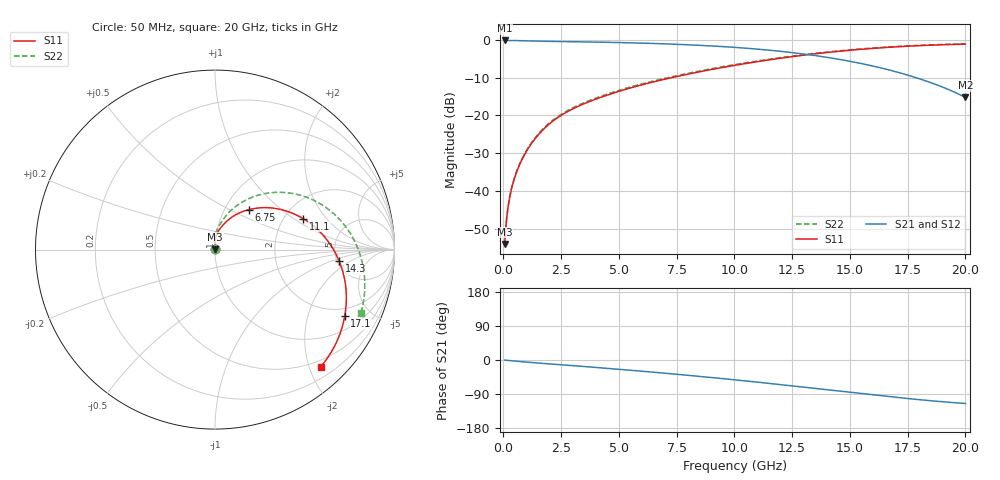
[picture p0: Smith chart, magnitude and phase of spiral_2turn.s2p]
#  Hz  S  RI  R  50
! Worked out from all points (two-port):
!   400 points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, 50 MHz to 20 GHz, reference 50 ohm
!   highest |S21| = -0.15 dB at 50 MHz (marker M1); lowest = -15.2 dB at 20 GHz (marker M2)
!   |S21| within 3 dB of the highest: start of sweep to 12.19 GHz
!   lowest |S11| = -54.0 dB at 50 MHz (marker M3), VSWR 1.00, Z = 50.1 + j0.15 ohm
!   |S11| at or under -10 dB: start of sweep to 7.281 GHz
!   |S22| runs from -54.6 to -1.0 dB; largest |S21 - S12| = 0.00073
!   S11 on the Smith chart (normalised r, x): 50 MHz: 1.00, +0.00; 6.75 GHz: 1.29, +0.63; 11.1 GHz: 2.53, +1.20; 14.3 GHz: 5.22, -1.31; 17.1 GHz: 1.59, -3.46; 20 GHz: 0.38, -2.20
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5e7  0.00132 0.00149  0.983 -0.00507  0.9828 -0.00505  0.00106 0.00153
1e8  0.00129 0.00299  0.9828 -0.0101  0.9826 -0.0101  0.00102 0.00306
1.5e8  0.00124 0.0045  0.9826 -0.0152  0.9824 -0.0151  0.000954 0.00459
2e8  0.00117 0.00601  0.9823 -0.0202  0.9821 -0.0202  0.000861 0.00614
3e8  0.000978 0.00908  0.9813 -0.0302  0.9812 -0.0301  0.000604 0.00928
5.5e8  0.000291 0.0172  0.9776 -0.0546  0.9775 -0.0544  -0.000369 0.0175
9e8  -0.000655 0.0298  0.9697 -0.0864  0.9698 -0.0863  -0.00199 0.0305
1.4e9  -7.05e-05 0.0505  0.9561 -0.1269  0.9563 -0.1268  -0.00291 0.0519
1.95e9  0.00546 0.0752  0.9416 -0.1667  0.9417 -0.1668  0.000354 0.0778
2.6e9  0.0186 0.1031  0.9259 -0.2126  0.9258 -0.2127  0.0103 0.1078
3.4e9  0.0408 0.133  0.9036 -0.271  0.9035 -0.271  0.0277 0.141
4.9e9  0.0942 0.1809  0.8437 -0.3767  0.8437 -0.3768  0.0696 0.1985
6.7e9  0.184 0.2214  0.7461 -0.4902  0.7461 -0.4902  0.1429 0.2593
6.75e9  0.1868 0.2222  0.743 -0.4931  0.7429 -0.4931  0.1453 0.2608
1.005e10  0.4121 0.2101  0.4836 -0.6306  0.4834 -0.6305  0.3492 0.3192
1.11e10  0.492 0.1723  0.3848 -0.6438  0.3845 -0.6436  0.4305 0.3128
1.335e10  0.6457 0.0234  0.1725 -0.6051  0.1723 -0.6046  0.6125 0.2384
1.43e10  0.6922 -0.065  0.0929 -0.5607  0.0927 -0.5602  0.6827 0.1799
1.67e10  0.7291 -0.3261  -0.047 -0.3971  -0.0467 -0.3966  0.8078 -0.0266
1.71e10  0.7229 -0.3705  -0.06 -0.366  -0.0597 -0.3656  0.8189 -0.0661
1.87e10  0.6663 -0.5378  -0.0823 -0.2447  -0.0818 -0.2442  0.834 -0.2276
2e10  0.5895 -0.652  -0.0724 -0.1573  -0.0721 -0.1575  0.813 -0.3531
